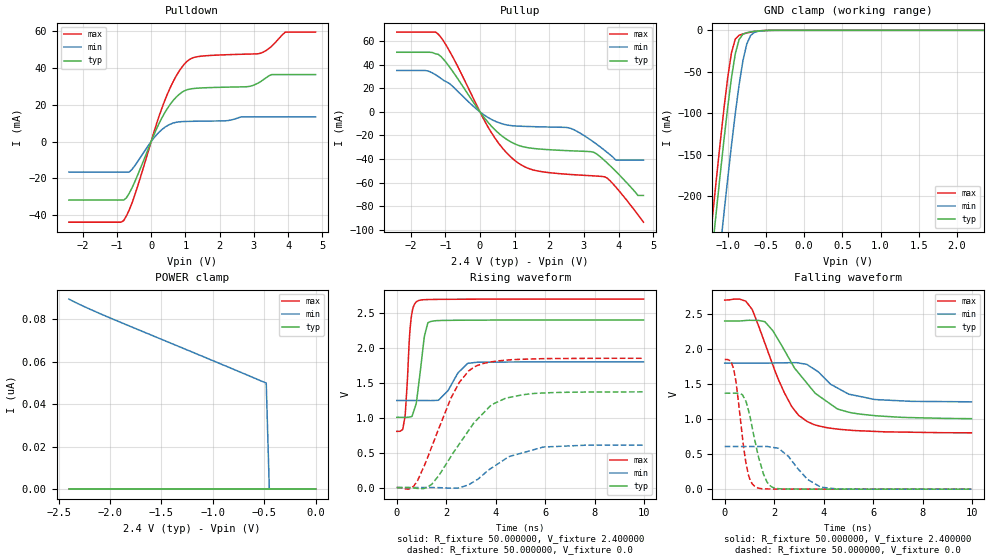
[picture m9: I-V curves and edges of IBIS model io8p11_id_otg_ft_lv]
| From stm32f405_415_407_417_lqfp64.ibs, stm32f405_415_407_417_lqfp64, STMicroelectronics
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|   Model io8p11_id_otg_ft_lv
[Model]  io8p11_id_otg_ft_lv
Model_type I/O
Polarity   Non-Inverting
Enable   Active-Low
Vinl =   0.720000V
Vinh =   1.680000V
Vmeas =  1.200000V
Cref =   30.000000pF
Rref =   100.000000M
Vref =   0.0V
C_comp   2.229800pF   2.169700pF   2.325100pF
[Temperature Range]   25.000000   0.125000k   -40.000000
[Pullup Reference]   2.400000V   1.800000V   2.700000V
[Pulldown Reference]   0.0V   0.0V   0.0V
[POWER Clamp Reference]   2.400000V   1.800000V   2.700000V
[GND Clamp Reference]   0.0V   0.0V   0.0V
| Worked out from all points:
|   slope of the pulldown table from 0 to 0.36 V, typ, clamps not added: 25 ohm
|   slope of the pullup table from 0 to 0.36 V, typ, clamps not added: 27.7 ohm
|   GND clamp passes 1 mA (typ) near -0.62 V on its own axis
|   rising waveform, R_fixture 50.000000, V_fixture 2.400000: 20-80 % time 281ps typ, 624ps min, 184ps max; typ from 1.01 V to 2.4 V
|   rising waveform, R_fixture 50.000000, V_fixture 0.0: 20-80 % time 1.7ns typ, 1.69ns min, 1.31ns max; typ from 0 V to 1.37 V
|   falling waveform, R_fixture 50.000000, V_fixture 2.400000: 20-80 % time 1.81ns typ, 1.29ns min, 1.32ns max; typ from 2.4 V to 1.01 V
|   falling waveform, R_fixture 50.000000, V_fixture 0.0: 20-80 % time 535ps typ, 926ps min, 384ps max; typ from 1.37 V to 0 V
[Pulldown]
|Voltage   I(typ)   I(min)   I(max)
-2.4V     -31.73mA   -16.51mA   -43.74mA
-800mV    -31.73mA   -16.51mA   -42.87mA
-480mV    -21.98mA   -13.17mA   -29.21mA
80mV      3.63mA     1.966mA    5.014mA
480mV     18.16mA    8.738mA    26.02mA
800mV     25.38mA    10.72mA    37.77mA
1.12V     28.53mA    11.02mA    44.6mA
2.8V      29.84mA    13.49mA    47.53mA
3.2V      32.65mA    13.49mA    48.05mA
3.52V     36.43mA    13.49mA    51.84mA
3.92V     36.43mA    13.49mA    59.49mA
4.8V      36.43mA    13.49mA    59.49mA
[Pullup]
|Voltage   I(typ)   I(min)   I(max)
-2.4V     50.45mA    35.08mA    67.53mA
-1.52V    50.45mA    34.74mA    67.53mA
-1.2V     48.64mA    29.87mA    65.68mA
320mV     -11.75mA   -6.207mA   -17.08mA
1.04V     -27.54mA   -11.97mA   -41.91mA
1.6V      -31.14mA   -12.58mA   -49.63mA
2.56V     -32.88mA   -13.48mA   -52.9mA
3.28V     -34.19mA   -25.52mA   -54.18mA
3.6V      -41.31mA   -32.62mA   -54.97mA
3.92V     -50.32mA   -40.8mA    -63.63mA
4.56V     -70.8mA    -40.8mA    -87.08mA
4.72V     -70.8mA    -40.8mA    -93.4mA
[GND_clamp]
|Voltage   I(typ)   I(min)   I(max)
-2.4V     -1.424A    -1.508A    -1.393A
-1.25V    -311.2mA   -401.9mA   -273.3mA
-1.2V     -265.4mA   -356.1mA   -227.2mA
-1.15V    -220.4mA   -310.8mA   -181.9mA
-1.1V     -176.3mA   -266.2mA   -137.9mA
-1.05V    -133.8mA   -222.5mA   -95.88mA
-950mV    -57.31mA   -138.9mA   -26.99mA
-900mV    -28.28mA   -100.4mA   -10.61mA
-850mV    -11.02mA   -65.55mA   -5.978mA
-750mV    -2.847mA   -16.51mA   -3.192mA
-600mV    -755.4uA   -1.17mA    -743.6uA
2.35V     0A         0A         0A
[POWER_clamp]
|Voltage   I(typ)   I(min)   I(max)
-2.4V     0A         89.62nA    0A
-2.04V    0A         81.58nA    0A
-480mV    0A         50.01nA    0A
-450mV    0A         0A         0A
0V        0A         0A         0A
[Ramp]
| variable   typ   min   max
dV/dt_r  0.82182/1.69452n   0.36406/1.67984n   1.11108/1.30721n
dV/dt_f  0.83262/1.80351n   0.33288/1.29652n   1.13587/1.32318n
R_load = 50.000000
[Rising Waveform]
R_fixture= 50.000000
V_fixture= 2.400000
V_fixture_min= 1.800000
V_fixture_max= 2.700000
|time   V(typ)   V(min)   V(max)
0s        1.006V     1.247V     804.6mV
240.2ps   1.006V     1.247V     832mV
340.3ps   1.006V     1.247V     1.037V
500.5ps   1.01V      1.247V     2.078V
580.6ps   1.015V     1.247V     2.425V
840.8ps   1.352V     1.247V     2.671V
1.121ns   2.175V     1.247V     2.691V
1.381ns   2.379V     1.245V     2.694V
2.883ns   2.397V     1.779V     2.697V
9.97ns    2.4V       1.8V       2.699V
[Rising Waveform]
R_fixture= 50.000000
V_fixture= 0.0
V_fixture_min= 0.0
V_fixture_max= 0.0
|time   V(typ)   V(min)   V(max)
0s        169.6uV    66.22uV    557.4uV
680.7ps   -5.465mV   52.05uV    19.58mV
1.421ns   50.6mV     101.3uV    591.9mV
2.162ns   430.7mV    -7.087mV   1.26V
2.523ns   621.8mV    -3.249mV   1.504V
3.143ns   936.1mV    90.65mV    1.73V
3.824ns   1.185V     278mV      1.801V
4.384ns   1.277V     409.1mV    1.823V
5.926ns   1.355V     580.5mV    1.846V
9.97ns    1.37V      609mV      1.852V
[Falling Waveform]
R_fixture= 50.000000
V_fixture= 2.400000
V_fixture_min= 1.800000
V_fixture_max= 2.700000
|time   V(typ)   V(min)   V(max)
0s        2.4V       1.8V       2.699V
840.8ps   2.407V     1.8V       2.685V
1.101ns   2.41V      1.8V       2.569V
1.622ns   2.391V     1.8V       2.085V
2.422ns   1.977V     1.804V     1.369V
2.963ns   1.668V     1.802V     1.064V
3.323ns   1.513V     1.78V      968.1mV
4.545ns   1.147V     1.446V     857.9mV
5.025ns   1.098V     1.355V     842.9mV
9.97ns    1.006V     1.247V     804.6mV
[Falling Waveform]
R_fixture= 50.000000
V_fixture= 0.0
V_fixture_min= 0.0
V_fixture_max= 0.0
|time   V(typ)   V(min)   V(max)
0s        1.37V      609mV      1.852V
360.4ps   1.37V      609mV      1.719V
460.5ps   1.37V      609mV      1.524V
720.7ps   1.345V     608.9mV    731mV
961ps     1.125V     608.7mV    202.3mV
1.281ns   595.1mV    608.7mV    26.74mV
1.702ns   108.3mV    609.8mV    3.308mV
2.062ns   12.58mV    589.9mV    2.065mV
3.884ns   927.5uV    29.67mV    1.076mV
9.97ns    169.6uV    66.22uV    557.4uV
